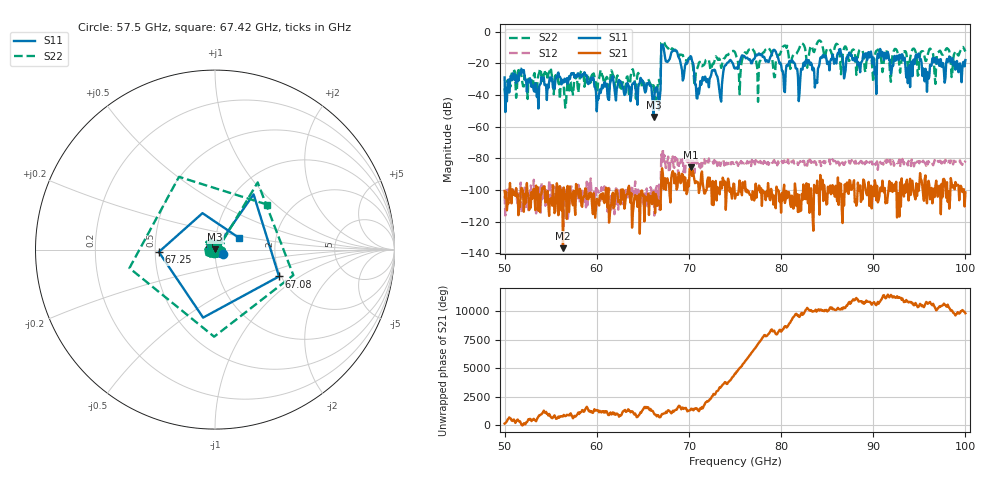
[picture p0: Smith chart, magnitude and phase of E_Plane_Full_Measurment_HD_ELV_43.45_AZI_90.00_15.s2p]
! 11/26/2026 3:21:55 PM
! C:\ANRITSUVNA\TEMP\TEMP.S2P
! CHANNEL.1
! TR.MEASUREMENT
! RAW.DATA
# HZ S RI R 50.0
! FREQ.HZ  S11RE  S11IM  S21RE  S21IM  S12RE  S12IM  S22RE  S22IM
!; PortSelection: Port_12
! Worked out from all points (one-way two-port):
!   601 points, 50 GHz to 100 GHz, reference 50 ohm
!   highest |S21| = -85.65 dB at 70.25 GHz (marker M1); lowest = -137.0 dB at 56.33 GHz (marker M2)
!   lowest |S11| = -53.9 dB at 66.17 GHz (marker M3), VSWR 1.00, Z = 50.1 + j0.148 ohm
!   |S11| at or under -10 dB: start of sweep to 67 GHz; 67.25 GHz to end of sweep
!   |S22| runs from -48.1 to -5.6 dB; largest |S21 - S12| = 0.00022
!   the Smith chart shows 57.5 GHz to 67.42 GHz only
!   S11 on the Smith chart (normalised r, x): 57.5 GHz: 1.09, -0.05; 67.08 GHz: 1.95, -0.69; 67.25 GHz: 0.52, -0.02; 67.42 GHz: 1.29, +0.18
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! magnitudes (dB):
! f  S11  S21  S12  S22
! 50 GHz  -29.0  -100.7  -103.6  -35.8
! 51.67 GHz  -26.3  -110.8  -102.0  -23.3
! 56.33 GHz  -32.1  -137.0  -105.8  -34.1
! 57.5 GHz  -26.2  -100.6  -109.4  -34.7
! 58.42 GHz  -27.2  -110.7  -100.6  -24.7
! 60.17 GHz  -42.8  -106.9  -101.4  -30.4
! 66.17 GHz  -53.9  -101.5  -100.4  -34.0
! 66.67 GHz  -41.5  -106.6  -108.5  -31.7
! 67.08 GHz  -8.3  -86.3  -83.3  -6.8
! 67.25 GHz  -10.1  -99.5  -82.7  -6.2
! 67.42 GHz  -16.6  -92.6  -82.0  -8.3
! 70.25 GHz  -15.9  -85.6  -81.4  -18.8
! 70.92 GHz  -42.3  -94.9  -82.0  -23.1
! 75 GHz  -23.3  -105.5  -82.4  -13.0
! 79.25 GHz  -11.5  -103.6  -81.2  -28.8
! 80.25 GHz  -27.8  -100.6  -82.7  -9.3
! 83.42 GHz  -24.4  -116.0  -82.6  -10.8
! 91.67 GHz  -16.7  -99.3  -82.1  -15.2
! 93.75 GHz  -32.6  -99.5  -84.6  -21.3
! 94.83 GHz  -15.0  -96.3  -81.9  -27.9
! 95.83 GHz  -38.0  -108.5  -82.1  -16.5
! 100 GHz  -18.0  -101.6  -81.6  -12.6
